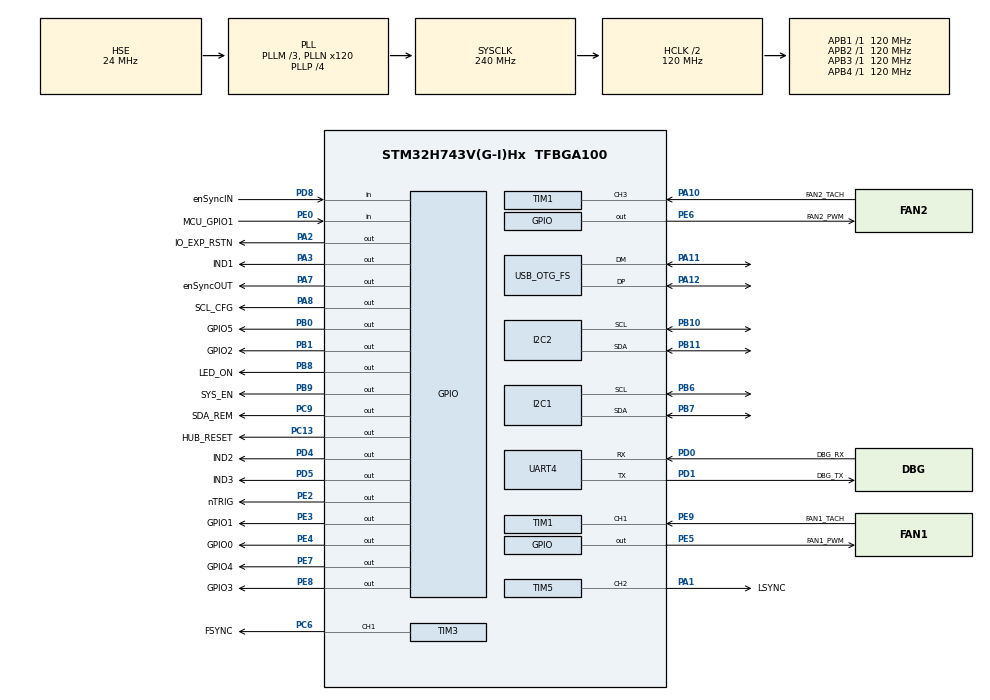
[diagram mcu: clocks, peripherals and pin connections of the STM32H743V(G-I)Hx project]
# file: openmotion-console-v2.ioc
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CORTEX_M7.default_mode_Activation=1
Dma.Request0=UART4_RX
Dma.Request1=UART4_TX
Dma.UART4_RX.0.Direction=DMA_PERIPH_TO_MEMORY
Dma.UART4_RX.0.EventEnable=DISABLE
Dma.UART4_RX.0.FIFOMode=DMA_FIFOMODE_DISABLE
Dma.UART4_RX.0.Instance=DMA1_Stream0
Dma.UART4_RX.0.MemDataAlignment=DMA_MDATAALIGN_BYTE
Dma.UART4_RX.0.MemInc=DMA_MINC_ENABLE
Dma.UART4_RX.0.Mode=DMA_NORMAL
Dma.UART4_RX.0.PeriphDataAlignment=DMA_PDATAALIGN_BYTE
Dma.UART4_RX.0.PeriphInc=DMA_PINC_DISABLE
Dma.UART4_RX.0.Polarity=HAL_DMAMUX_REQ_GEN_RISING
Dma.UART4_RX.0.Priority=DMA_PRIORITY_LOW
Dma.UART4_RX.0.RequestNumber=1
Dma.UART4_RX.0.SignalID=NONE
Dma.UART4_RX.0.SyncEnable=DISABLE
Dma.UART4_RX.0.SyncPolarity=HAL_DMAMUX_SYNC_NO_EVENT
Dma.UART4_RX.0.SyncRequestNumber=1
Dma.UART4_RX.0.SyncSignalID=NONE
Dma.UART4_TX.1.Direction=DMA_MEMORY_TO_PERIPH
Dma.UART4_TX.1.EventEnable=DISABLE
Dma.UART4_TX.1.FIFOMode=DMA_FIFOMODE_DISABLE
Dma.UART4_TX.1.Instance=DMA1_Stream1
Dma.UART4_TX.1.MemDataAlignment=DMA_MDATAALIGN_BYTE
Dma.UART4_TX.1.MemInc=DMA_MINC_ENABLE
Dma.UART4_TX.1.Mode=DMA_NORMAL
Dma.UART4_TX.1.PeriphDataAlignment=DMA_PDATAALIGN_BYTE
Dma.UART4_TX.1.PeriphInc=DMA_PINC_DISABLE
Dma.UART4_TX.1.Polarity=HAL_DMAMUX_REQ_GEN_RISING
Dma.UART4_TX.1.Priority=DMA_PRIORITY_LOW
Dma.UART4_TX.1.RequestNumber=1
Dma.UART4_TX.1.SignalID=NONE
Dma.UART4_TX.1.SyncEnable=DISABLE
Dma.UART4_TX.1.SyncPolarity=HAL_DMAMUX_SYNC_NO_EVENT
Dma.UART4_TX.1.SyncRequestNumber=1
Dma.UART4_TX.1.SyncSignalID=NONE
FREERTOS.Tasks01=defaultTask,24,256,StartDefaultTask,Default,NULL,Dynamic,NULL,NULL
FREERTOS.configUSE_NEWLIB_REENTRANT=1
I2C1.Timing=0x107075B0
I2C2.Timing=0x107075B0
Mcu.Family=STM32H7
Mcu.Name=STM32H743V(G-I)Hx
Mcu.Package=TFBGA100
NVIC.DMA1_Stream0_IRQn=true\:5\:0\:false\:false\:true\:true\:false\:true\:true
NVIC.DMA1_Stream1_IRQn=true\:5\:0\:false\:false\:true\:true\:false\:true\:true
NVIC.OTG_FS_IRQn=true\:5\:0\:false\:false\:true\:true\:false\:true\:true
NVIC.PriorityGroup=NVIC_PRIORITYGROUP_4
NVIC.TIM17_IRQn=true\:15\:0\:false\:false\:true\:false\:false\:true\:true
NVIC.TIM4_IRQn=true\:5\:0\:false\:false\:true\:true\:true\:true\:true
NVIC.TIM8_BRK_TIM12_IRQn=true\:5\:0\:false\:false\:true\:true\:true\:true\:true
NVIC.TimeBase=TIM17_IRQn
NVIC.TimeBaseIP=TIM17
NVIC.UART4_IRQn=true\:5\:0\:false\:false\:true\:true\:true\:true\:true
PA1.GPIO_Label=LSYNC
PA1.Signal=S_TIM5_CH2
PA10.GPIO_Label=FAN2_TACH
PA10.Signal=S_TIM1_CH3
PA11.Mode=Device_Only
PA11.Signal=USB_OTG_FS_DM
PA12.Mode=Device_Only
PA12.Signal=USB_OTG_FS_DP
PA13\ (JTMS/SWDIO).Mode=Serial_Wire
PA13\ (JTMS/SWDIO).Signal=DEBUG_JTMS-SWDIO
PA14\ (JTCK/SWCLK).Mode=Serial_Wire
PA14\ (JTCK/SWCLK).Signal=DEBUG_JTCK-SWCLK
PA2.GPIO_Label=IO_EXP_RSTN
PA2.PinState=GPIO_PIN_SET
PA2.Signal=GPIO_Output
PA3.GPIO_Label=IND1
PA3.Signal=GPIO_Output
PA7.GPIO_Label=enSyncOUT
PA7.Signal=GPIO_Output
PA8.GPIO_Label=SCL_CFG
PA8.Signal=GPIO_Output
PB0.GPIO_Label=GPIO5
PB0.Signal=GPIO_Output
PB1.GPIO_Label=GPIO2
PB1.Signal=GPIO_Output
PB10.Mode=I2C
PB10.Signal=I2C2_SCL
PB11.Mode=I2C
PB11.Signal=I2C2_SDA
PB6.Mode=I2C
PB6.Signal=I2C1_SCL
PB7.Mode=I2C
PB7.Signal=I2C1_SDA
PB8.GPIO_Label=LED_ON
PB8.Signal=GPIO_Output
PB9.GPIO_Label=SYS_EN
PB9.Signal=GPIO_Output
PC13.GPIO_Label=HUB_RESET
PC13.Signal=GPIO_Output
PC6.GPIO_Label=FSYNC
PC6.Signal=S_TIM3_CH1
PC9.GPIO_Label=SDA_REM
PC9.Signal=GPIO_Output
PD0.GPIO_Label=DBG_RX
PD0.Mode=Asynchronous
PD0.Signal=UART4_RX
PD1.GPIO_Label=DBG_TX
PD1.Mode=Asynchronous
PD1.Signal=UART4_TX
PD4.GPIO_Label=IND2
PD4.Signal=GPIO_Output
PD5.GPIO_Label=IND3
PD5.Signal=GPIO_Output
PD8.GPIO_Label=enSyncIN
PD8.Signal=GPIO_Input
PE0.GPIO_Label=MCU_GPIO1
PE0.Signal=GPIO_Input
PE2.GPIO_Label=nTRIG
PE2.Signal=GPIO_Output
PE3.GPIO_Label=GPIO1
PE3.Signal=GPIO_Output
PE4.GPIO_Label=GPIO0
PE4.Signal=GPIO_Output
PE5.GPIO_Label=FAN1_PWM
PE5.PinState=GPIO_PIN_SET
PE5.Signal=GPIO_Output
PE6.GPIO_Label=FAN2_PWM
PE6.PinState=GPIO_PIN_SET
PE6.Signal=GPIO_Output
PE7.GPIO_Label=GPIO4
PE7.Signal=GPIO_Output
PE8.GPIO_Label=GPIO3
PE8.Signal=GPIO_Output
PE9.GPIO_Label=FAN1_TACH
PE9.Signal=S_TIM1_CH1
PH0-OSC_IN\ (PH0).Mode=HSE-External-Oscillator
PH0-OSC_IN\ (PH0).Signal=RCC_OSC_IN
PH1-OSC_OUT\ (PH1).Mode=HSE-External-Oscillator
PH1-OSC_OUT\ (PH1).Signal=RCC_OSC_OUT
ProjectManager.HeapSize=0x200
ProjectManager.StackSize=0x400
ProjectManager.TargetToolchain=STM32CubeIDE
RCC.ADCFreq_Value=480000000
RCC.APB1Freq_Value=120000000
RCC.APB2Freq_Value=120000000
RCC.APB3Freq_Value=120000000
RCC.APB4Freq_Value=120000000
RCC.CortexFreq_Value=240000000
RCC.DIVM1=3
RCC.DIVM2=3
RCC.DIVM3=3
RCC.DIVN1=120
RCC.DIVN2=120
RCC.DIVN3=120
RCC.DIVP1=4
RCC.DIVQ1=16
RCC.DIVQ2=16
RCC.DIVQ3=16
RCC.DIVR1=16
RCC.DIVR3=16
RCC.HCLKFreq_Value=120000000
RCC.HPRE=RCC_HCLK_DIV2
RCC.HSE_VALUE=24000000
RCC.I2C123CLockSelection=RCC_I2C123CLKSOURCE_PLL3
RCC.PLLSourceVirtual=RCC_PLLSOURCE_HSE
RCC.SYSCLKFreq_VALUE=240000000
RCC.SYSCLKSource=RCC_SYSCLKSOURCE_PLLCLK
RCC.USART234578CLockSelection=RCC_USART234578CLKSOURCE_PLL2
RCC.USBCLockSelection=RCC_USBCLKSOURCE_HSI48
RCC.USBFreq_Value=48000000
SH.S_TIM1_CH1.0=TIM1_CH1,Input_Capture1_from_TI1
SH.S_TIM1_CH3.0=TIM1_CH3,Input_Capture3_from_TI3
SH.S_TIM3_CH1.0=TIM3_CH1,PWM Generation1 CH1
SH.S_TIM5_CH2.0=TIM5_CH2,PWM Generation2 CH2
TIM1.Channel-Input_Capture1_from_TI1=TIM_CHANNEL_1
TIM1.Channel-Input_Capture3_from_TI3=TIM_CHANNEL_3
TIM12.Period=25000-1
TIM12.Prescaler=120-1
TIM3.Channel-PWM\ Generation1\ CH1=TIM_CHANNEL_1
TIM3.Period=25000-1
TIM3.Prescaler=120-1
TIM3.Pulse-PWM\ Generation1\ CH1=1000
TIM4.Channel-PWM\ Generation1\ No\ Output=TIM_CHANNEL_1
TIM5.Channel-PWM\ Generation2\ CH2=TIM_CHANNEL_2
TIM5.Period=150-1
TIM5.Prescaler=120-1
TIM5.Pulse-PWM\ Generation2\ CH2=50
USB_DEVICE.CLASS_NAME_FS=CDC
USB_DEVICE.PID_CDC_FS=0xA53E
USB_DEVICE.VID-CDC_FS=0x483
USB_DEVICE.VirtualMode-CDC_FS=Cdc
USB_DEVICE.VirtualModeFS=Cdc_FS
USB_OTG_FS.VirtualMode=Device_Only
VP_CRC_VS_CRC.Mode=CRC_Activate
VP_FREERTOS_VS_CMSIS_V2.Mode=CMSIS_V2
VP_MEMORYMAP_VS_MEMORYMAP.Mode=CurAppReg
VP_RNG_VS_RNG.Mode=RNG_Activate
VP_SYS_VS_tim17.Mode=TIM17
VP_TIM12_VS_ClockSourceINT.Mode=Internal
VP_TIM15_VS_ClockSourceINT.Mode=Internal
VP_TIM1_VS_ClockSourceINT.Mode=Internal
VP_TIM3_VS_ClockSourceINT.Mode=Internal
VP_TIM4_VS_ClockSourceITR.Mode=TriggerSource_ITR1
VP_TIM4_VS_ControllerModeTrigger.Mode=Trigger Mode
VP_TIM4_VS_OPM.Mode=OPM_bit
VP_TIM4_VS_no_output1.Mode=PWM Generation1 No Output
VP_TIM5_VS_ClockSourceINT.Mode=Internal
VP_USB_DEVICE_VS_USB_DEVICE_CDC_FS.Mode=CDC_FS
board=custom

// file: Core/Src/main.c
/* USER CODE BEGIN Header */
/**
  ******************************************************************************
  * @file           : main.c
  * @brief          : Main program body
  ******************************************************************************
  * @attention
  *
  * Copyright (c) 2025 STMicroelectronics.
  * All rights reserved.
  *
  * This software is licensed under terms that can be found in the LICENSE file
  * in the root directory of this software component.
  * If no LICENSE file comes with this software, it is provided AS-IS.
  *
  ******************************************************************************
  */
/* USER CODE END Header */
#include "main.h"
#include "cmsis_os.h"
#include "usb_device.h"

/* USER CODE BEGIN Includes */
#include "logging.h"
#include "usbd_cdc_if.h"
#include "uart_comms.h"
#include "trigger.h"
#include "fan_driver.h"
#include "led_driver.h"
#include "utils.h"
#include <stdio.h>
#include <string.h>
#include <stdbool.h>

/* USER CODE END Includes */

CRC_HandleTypeDef hcrc;

I2C_HandleTypeDef hi2c1;
I2C_HandleTypeDef hi2c2;

RNG_HandleTypeDef hrng;

TIM_HandleTypeDef htim1;
TIM_HandleTypeDef htim3;
TIM_HandleTypeDef htim4;
TIM_HandleTypeDef htim5;
TIM_HandleTypeDef htim12;
TIM_HandleTypeDef htim15;

UART_HandleTypeDef huart4;
DMA_HandleTypeDef hdma_uart4_rx;
DMA_HandleTypeDef hdma_uart4_tx;

/* Definitions for defaultTask */
osThreadId_t defaultTaskHandle;
const osThreadAttr_t defaultTask_attributes = {
  .name = "defaultTask",
  .stack_size = 256 * 4,
  .priority = (osPriority_t) osPriorityNormal,
};
/* USER CODE BEGIN PV */
uint8_t FIRMWARE_VERSION_DATA[3] = {1, 2, 0};

uint8_t rxBuffer[COMMAND_MAX_SIZE];
uint8_t txBuffer[COMMAND_MAX_SIZE];

/* USER CODE END PV */

void SystemClock_Config(void);
void PeriphCommonClock_Config(void);
static void MPU_Config(void);
static void MX_GPIO_Init(void);
static void MX_DMA_Init(void);
static void MX_CRC_Init(void);
static void MX_I2C1_Init(void);
static void MX_I2C2_Init(void);
static void MX_RNG_Init(void);
static void MX_UART4_Init(void);
static void MX_TIM1_Init(void);
static void MX_TIM3_Init(void);
static void MX_TIM5_Init(void);
static void MX_TIM4_Init(void);
static void MX_TIM12_Init(void);
static void MX_TIM15_Init(void);
void StartDefaultTask(void *argument);

int main(void)
{

  /* MPU Configuration--------------------------------------------------------*/
  MPU_Config();

  /* MCU Configuration--------------------------------------------------------*/

  /* Reset of all peripherals, Initializes the Flash interface and the Systick. */
  HAL_Init();

  /* Configure the system clock */
  SystemClock_Config();

  /* Configure the peripherals common clocks */
  PeriphCommonClock_Config();

  /* Initialize all configured peripherals */
  MX_GPIO_Init();
  MX_DMA_Init();
  MX_CRC_Init();
  MX_I2C1_Init();
  MX_I2C2_Init();
  MX_RNG_Init();
  MX_UART4_Init();
  MX_TIM1_Init();
  MX_TIM3_Init();
  MX_TIM5_Init();
  MX_TIM4_Init();
  MX_TIM12_Init();
  MX_TIM15_Init();
  /* USER CODE BEGIN 2 */

  init_dma_logging();
  // HAL_GPIO_DeInit(SCL_CFG_GPIO_Port, SCL_CFG_Pin);
  // HAL_GPIO_DeInit(SDA_REM_GPIO_Port, SDA_REM_Pin);
  HAL_GPIO_WritePin(SCL_CFG_GPIO_Port, SCL_CFG_Pin, GPIO_PIN_RESET);
  HAL_GPIO_WritePin(SDA_REM_GPIO_Port, SDA_REM_Pin, GPIO_PIN_RESET);

  HAL_GPIO_WritePin(IO_EXP_RSTN_GPIO_Port, IO_EXP_RSTN_Pin, GPIO_PIN_RESET);
  HAL_GPIO_WritePin(HUB_RESET_GPIO_Port, HUB_RESET_Pin, GPIO_PIN_RESET);
  HAL_GPIO_WritePin(SYS_EN_GPIO_Port, SYS_EN_Pin, GPIO_PIN_RESET);
  HAL_GPIO_WritePin(LED_ON_GPIO_Port, LED_ON_Pin, GPIO_PIN_SET);

  printf("\033c");
  HAL_Delay(250);
  printf("Openwater open-MOTION Console FW v%d.%d.%d\r\n\r\n",FIRMWARE_VERSION_DATA[0], FIRMWARE_VERSION_DATA[1], FIRMWARE_VERSION_DATA[2]);
  printf("CPU Clock Frequency: %lu MHz\r\n", HAL_RCC_GetSysClockFreq() / 1000000);
  printf("Initializing, please wait ...\r\n");

  HAL_GPIO_WritePin(IO_EXP_RSTN_GPIO_Port, IO_EXP_RSTN_Pin, GPIO_PIN_SET);
  HAL_GPIO_WritePin(SYS_EN_GPIO_Port, SYS_EN_Pin, GPIO_PIN_SET);

  LED_Init();
  HAL_GPIO_WritePin(LED_ON_GPIO_Port, LED_ON_Pin, GPIO_PIN_RESET);
  HAL_GPIO_WritePin(HUB_RESET_GPIO_Port, HUB_RESET_Pin, GPIO_PIN_SET);
  HAL_Delay(250);
  FAN_Init();

  // configure PWM for trigger pulse
  const Trigger_Config_t myTriggerConfig = { 40, 1000, 100, 100 };
  Trigger_SetConfig(&myTriggerConfig);

  /* USER CODE END 2 */

  /* Init scheduler */
  osKernelInitialize();

  /* Create the thread(s) */
  /* creation of defaultTask */
  defaultTaskHandle = osThreadNew(StartDefaultTask, NULL, &defaultTask_attributes);

  /* USER CODE BEGIN RTOS_THREADS */
  comms_init();
  /* USER CODE END RTOS_THREADS */

  /* Start scheduler */
  osKernelStart();

  /* We should never get here as control is now taken by the scheduler */

  /* Infinite loop */
  while (1)
  {

  }
}

void SystemClock_Config(void)
{
  RCC_OscInitTypeDef RCC_OscInitStruct = {0};
  RCC_ClkInitTypeDef RCC_ClkInitStruct = {0};

  /** Supply configuration update enable
  */
  HAL_PWREx_ConfigSupply(PWR_LDO_SUPPLY);

  /** Configure the main internal regulator output voltage
  */
  __HAL_PWR_VOLTAGESCALING_CONFIG(PWR_REGULATOR_VOLTAGE_SCALE2);

  while(!__HAL_PWR_GET_FLAG(PWR_FLAG_VOSRDY)) {}

  /** Initializes the RCC Oscillators according to the specified parameters
  * in the RCC_OscInitTypeDef structure.
  */
  RCC_OscInitStruct.OscillatorType = RCC_OSCILLATORTYPE_HSI48|RCC_OSCILLATORTYPE_HSE;
  RCC_OscInitStruct.HSEState = RCC_HSE_ON;
  RCC_OscInitStruct.HSI48State = RCC_HSI48_ON;
  RCC_OscInitStruct.PLL.PLLState = RCC_PLL_ON;
  RCC_OscInitStruct.PLL.PLLSource = RCC_PLLSOURCE_HSE;
  RCC_OscInitStruct.PLL.PLLM = 3;
  RCC_OscInitStruct.PLL.PLLN = 120;
  RCC_OscInitStruct.PLL.PLLP = 4;
  RCC_OscInitStruct.PLL.PLLQ = 16;
  RCC_OscInitStruct.PLL.PLLR = 16;
  RCC_OscInitStruct.PLL.PLLRGE = RCC_PLL1VCIRANGE_3;
  RCC_OscInitStruct.PLL.PLLVCOSEL = RCC_PLL1VCOWIDE;
  RCC_OscInitStruct.PLL.PLLFRACN = 0;
  if (HAL_RCC_OscConfig(&RCC_OscInitStruct) != HAL_OK)
  {
    Error_Handler();
  }

  /** Initializes the CPU, AHB and APB buses clocks
  */
  RCC_ClkInitStruct.ClockType = RCC_CLOCKTYPE_HCLK|RCC_CLOCKTYPE_SYSCLK
                              |RCC_CLOCKTYPE_PCLK1|RCC_CLOCKTYPE_PCLK2
                              |RCC_CLOCKTYPE_D3PCLK1|RCC_CLOCKTYPE_D1PCLK1;
  RCC_ClkInitStruct.SYSCLKSource = RCC_SYSCLKSOURCE_PLLCLK;
  RCC_ClkInitStruct.SYSCLKDivider = RCC_SYSCLK_DIV1;
  RCC_ClkInitStruct.AHBCLKDivider = RCC_HCLK_DIV2;
  RCC_ClkInitStruct.APB3CLKDivider = RCC_APB3_DIV1;
  RCC_ClkInitStruct.APB1CLKDivider = RCC_APB1_DIV1;
  RCC_ClkInitStruct.APB2CLKDivider = RCC_APB2_DIV1;
  RCC_ClkInitStruct.APB4CLKDivider = RCC_APB4_DIV1;

  if (HAL_RCC_ClockConfig(&RCC_ClkInitStruct, FLASH_LATENCY_2) != HAL_OK)
  {
    Error_Handler();
  }
}

void PeriphCommonClock_Config(void)
{
  RCC_PeriphCLKInitTypeDef PeriphClkInitStruct = {0};

  /** Initializes the peripherals clock
  */
  PeriphClkInitStruct.PeriphClockSelection = RCC_PERIPHCLK_I2C2|RCC_PERIPHCLK_I2C1;
  PeriphClkInitStruct.PLL3.PLL3M = 3;
  PeriphClkInitStruct.PLL3.PLL3N = 120;
  PeriphClkInitStruct.PLL3.PLL3P = 2;
  PeriphClkInitStruct.PLL3.PLL3Q = 16;
  PeriphClkInitStruct.PLL3.PLL3R = 16;
  PeriphClkInitStruct.PLL3.PLL3RGE = RCC_PLL3VCIRANGE_3;
  PeriphClkInitStruct.PLL3.PLL3VCOSEL = RCC_PLL3VCOWIDE;
  PeriphClkInitStruct.PLL3.PLL3FRACN = 0;
  PeriphClkInitStruct.I2c123ClockSelection = RCC_I2C123CLKSOURCE_PLL3;
  if (HAL_RCCEx_PeriphCLKConfig(&PeriphClkInitStruct) != HAL_OK)
  {
    Error_Handler();
  }
}

static void MX_CRC_Init(void)
{

  hcrc.Instance = CRC;
  hcrc.Init.DefaultPolynomialUse = DEFAULT_POLYNOMIAL_ENABLE;
  hcrc.Init.DefaultInitValueUse = DEFAULT_INIT_VALUE_ENABLE;
  hcrc.Init.InputDataInversionMode = CRC_INPUTDATA_INVERSION_NONE;
  hcrc.Init.OutputDataInversionMode = CRC_OUTPUTDATA_INVERSION_DISABLE;
  hcrc.InputDataFormat = CRC_INPUTDATA_FORMAT_BYTES;
  if (HAL_CRC_Init(&hcrc) != HAL_OK)
  {
    Error_Handler();
  }

}

static void MX_I2C1_Init(void)
{

  hi2c1.Instance = I2C1;
  hi2c1.Init.Timing = 0x107075B0;
  hi2c1.Init.OwnAddress1 = 0;
  hi2c1.Init.AddressingMode = I2C_ADDRESSINGMODE_7BIT;
  hi2c1.Init.DualAddressMode = I2C_DUALADDRESS_DISABLE;
  hi2c1.Init.OwnAddress2 = 0;
  hi2c1.Init.OwnAddress2Masks = I2C_OA2_NOMASK;
  hi2c1.Init.GeneralCallMode = I2C_GENERALCALL_DISABLE;
  hi2c1.Init.NoStretchMode = I2C_NOSTRETCH_DISABLE;
  if (HAL_I2C_Init(&hi2c1) != HAL_OK)
  {
    Error_Handler();
  }

  /** Configure Analogue filter
  */
  if (HAL_I2CEx_ConfigAnalogFilter(&hi2c1, I2C_ANALOGFILTER_ENABLE) != HAL_OK)
  {
    Error_Handler();
  }

  /** Configure Digital filter
  */
  if (HAL_I2CEx_ConfigDigitalFilter(&hi2c1, 0) != HAL_OK)
  {
    Error_Handler();
  }

}

static void MX_I2C2_Init(void)
{

  hi2c2.Instance = I2C2;
  hi2c2.Init.Timing = 0x107075B0;
  hi2c2.Init.OwnAddress1 = 0;
  hi2c2.Init.AddressingMode = I2C_ADDRESSINGMODE_7BIT;
  hi2c2.Init.DualAddressMode = I2C_DUALADDRESS_DISABLE;
  hi2c2.Init.OwnAddress2 = 0;
  hi2c2.Init.OwnAddress2Masks = I2C_OA2_NOMASK;
  hi2c2.Init.GeneralCallMode = I2C_GENERALCALL_DISABLE;
  hi2c2.Init.NoStretchMode = I2C_NOSTRETCH_DISABLE;
  if (HAL_I2C_Init(&hi2c2) != HAL_OK)
  {
    Error_Handler();
  }

  /** Configure Analogue filter
  */
  if (HAL_I2CEx_ConfigAnalogFilter(&hi2c2, I2C_ANALOGFILTER_ENABLE) != HAL_OK)
  {
    Error_Handler();
  }

  /** Configure Digital filter
  */
  if (HAL_I2CEx_ConfigDigitalFilter(&hi2c2, 0) != HAL_OK)
  {
    Error_Handler();
  }

}

static void MX_RNG_Init(void)
{

  hrng.Instance = RNG;
  hrng.Init.ClockErrorDetection = RNG_CED_ENABLE;
  if (HAL_RNG_Init(&hrng) != HAL_OK)
  {
    Error_Handler();
  }

}

static void MX_TIM1_Init(void)
{

  TIM_ClockConfigTypeDef sClockSourceConfig = {0};
  TIM_MasterConfigTypeDef sMasterConfig = {0};
  TIM_IC_InitTypeDef sConfigIC = {0};

  htim1.Instance = TIM1;
  htim1.Init.Prescaler = 0;
  htim1.Init.CounterMode = TIM_COUNTERMODE_UP;
  htim1.Init.Period = 65535;
  htim1.Init.ClockDivision = TIM_CLOCKDIVISION_DIV1;
  htim1.Init.RepetitionCounter = 0;
  htim1.Init.AutoReloadPreload = TIM_AUTORELOAD_PRELOAD_DISABLE;
  if (HAL_TIM_Base_Init(&htim1) != HAL_OK)
  {
    Error_Handler();
  }
  sClockSourceConfig.ClockSource = TIM_CLOCKSOURCE_INTERNAL;
  if (HAL_TIM_ConfigClockSource(&htim1, &sClockSourceConfig) != HAL_OK)
  {
    Error_Handler();
  }
  if (HAL_TIM_IC_Init(&htim1) != HAL_OK)
  {
    Error_Handler();
  }
  sMasterConfig.MasterOutputTrigger = TIM_TRGO_RESET;
  sMasterConfig.MasterOutputTrigger2 = TIM_TRGO2_RESET;
  sMasterConfig.MasterSlaveMode = TIM_MASTERSLAVEMODE_DISABLE;
  if (HAL_TIMEx_MasterConfigSynchronization(&htim1, &sMasterConfig) != HAL_OK)
  {
    Error_Handler();
  }
  sConfigIC.ICPolarity = TIM_INPUTCHANNELPOLARITY_RISING;
  sConfigIC.ICSelection = TIM_ICSELECTION_DIRECTTI;
  sConfigIC.ICPrescaler = TIM_ICPSC_DIV1;
  sConfigIC.ICFilter = 0;
  if (HAL_TIM_IC_ConfigChannel(&htim1, &sConfigIC, TIM_CHANNEL_1) != HAL_OK)
  {
    Error_Handler();
  }
  if (HAL_TIM_IC_ConfigChannel(&htim1, &sConfigIC, TIM_CHANNEL_3) != HAL_OK)
  {
    Error_Handler();
  }

}

static void MX_TIM3_Init(void)
{

  TIM_ClockConfigTypeDef sClockSourceConfig = {0};
  TIM_MasterConfigTypeDef sMasterConfig = {0};
  TIM_OC_InitTypeDef sConfigOC = {0};

  htim3.Instance = TIM3;
  htim3.Init.Prescaler = 120-1;
  htim3.Init.CounterMode = TIM_COUNTERMODE_UP;
  htim3.Init.Period = 25000-1;
  htim3.Init.ClockDivision = TIM_CLOCKDIVISION_DIV1;
  htim3.Init.AutoReloadPreload = TIM_AUTORELOAD_PRELOAD_DISABLE;
  if (HAL_TIM_Base_Init(&htim3) != HAL_OK)
  {
    Error_Handler();
  }
  sClockSourceConfig.ClockSource = TIM_CLOCKSOURCE_INTERNAL;
  if (HAL_TIM_ConfigClockSource(&htim3, &sClockSourceConfig) != HAL_OK)
  {
    Error_Handler();
  }
  if (HAL_TIM_PWM_Init(&htim3) != HAL_OK)
  {
    Error_Handler();
  }
  sMasterConfig.MasterOutputTrigger = TIM_TRGO_RESET;
  sMasterConfig.MasterSlaveMode = TIM_MASTERSLAVEMODE_DISABLE;
  if (HAL_TIMEx_MasterConfigSynchronization(&htim3, &sMasterConfig) != HAL_OK)
  {
    Error_Handler();
  }
  sConfigOC.OCMode = TIM_OCMODE_PWM1;
  sConfigOC.Pulse = 1000;
  sConfigOC.OCPolarity = TIM_OCPOLARITY_HIGH;
  sConfigOC.OCFastMode = TIM_OCFAST_DISABLE;
  if (HAL_TIM_PWM_ConfigChannel(&htim3, &sConfigOC, TIM_CHANNEL_1) != HAL_OK)
  {
    Error_Handler();
  }
  HAL_TIM_MspPostInit(&htim3);

}

static void MX_TIM4_Init(void)
{

  TIM_SlaveConfigTypeDef sSlaveConfig = {0};
  TIM_MasterConfigTypeDef sMasterConfig = {0};
  TIM_OC_InitTypeDef sConfigOC = {0};

  htim4.Instance = TIM4;
  htim4.Init.Prescaler = 0;
  htim4.Init.CounterMode = TIM_COUNTERMODE_UP;
  htim4.Init.Period = 65535;
  htim4.Init.ClockDivision = TIM_CLOCKDIVISION_DIV1;
  htim4.Init.AutoReloadPreload = TIM_AUTORELOAD_PRELOAD_DISABLE;
  if (HAL_TIM_Base_Init(&htim4) != HAL_OK)
  {
    Error_Handler();
  }
  if (HAL_TIM_PWM_Init(&htim4) != HAL_OK)
  {
    Error_Handler();
  }
  if (HAL_TIM_OnePulse_Init(&htim4, TIM_OPMODE_SINGLE) != HAL_OK)
  {
    Error_Handler();
  }
  sSlaveConfig.SlaveMode = TIM_SLAVEMODE_TRIGGER;
  sSlaveConfig.InputTrigger = TIM_TS_ITR1;
  if (HAL_TIM_SlaveConfigSynchro(&htim4, &sSlaveConfig) != HAL_OK)
  {
    Error_Handler();
  }
  sMasterConfig.MasterOutputTrigger = TIM_TRGO_RESET;
  sMasterConfig.MasterSlaveMode = TIM_MASTERSLAVEMODE_DISABLE;
  if (HAL_TIMEx_MasterConfigSynchronization(&htim4, &sMasterConfig) != HAL_OK)
  {
    Error_Handler();
  }
  sConfigOC.OCMode = TIM_OCMODE_PWM1;
  sConfigOC.Pulse = 0;
  sConfigOC.OCPolarity = TIM_OCPOLARITY_HIGH;
  sConfigOC.OCFastMode = TIM_OCFAST_DISABLE;
  if (HAL_TIM_PWM_ConfigChannel(&htim4, &sConfigOC, TIM_CHANNEL_1) != HAL_OK)
  {
    Error_Handler();
  }

}

static void MX_TIM5_Init(void)
{

  TIM_ClockConfigTypeDef sClockSourceConfig = {0};
  TIM_MasterConfigTypeDef sMasterConfig = {0};
  TIM_OC_InitTypeDef sConfigOC = {0};

  htim5.Instance = TIM5;
  htim5.Init.Prescaler = 120-1;
  htim5.Init.CounterMode = TIM_COUNTERMODE_UP;
  htim5.Init.Period = 150-1;
  htim5.Init.ClockDivision = TIM_CLOCKDIVISION_DIV1;
  htim5.Init.AutoReloadPreload = TIM_AUTORELOAD_PRELOAD_DISABLE;
  if (HAL_TIM_Base_Init(&htim5) != HAL_OK)
  {
    Error_Handler();
  }
  sClockSourceConfig.ClockSource = TIM_CLOCKSOURCE_INTERNAL;
  if (HAL_TIM_ConfigClockSource(&htim5, &sClockSourceConfig) != HAL_OK)
  {
    Error_Handler();
  }
  if (HAL_TIM_PWM_Init(&htim5) != HAL_OK)
  {
    Error_Handler();
  }
  sMasterConfig.MasterOutputTrigger = TIM_TRGO_RESET;
  sMasterConfig.MasterSlaveMode = TIM_MASTERSLAVEMODE_DISABLE;
  if (HAL_TIMEx_MasterConfigSynchronization(&htim5, &sMasterConfig) != HAL_OK)
  {
    Error_Handler();
  }
  sConfigOC.OCMode = TIM_OCMODE_PWM1;
  sConfigOC.Pulse = 50;
  sConfigOC.OCPolarity = TIM_OCPOLARITY_HIGH;
  sConfigOC.OCFastMode = TIM_OCFAST_DISABLE;
  if (HAL_TIM_PWM_ConfigChannel(&htim5, &sConfigOC, TIM_CHANNEL_2) != HAL_OK)
  {
    Error_Handler();
  }
  HAL_TIM_MspPostInit(&htim5);

}

static void MX_TIM12_Init(void)
{

  TIM_ClockConfigTypeDef sClockSourceConfig = {0};
  TIM_MasterConfigTypeDef sMasterConfig = {0};

  htim12.Instance = TIM12;
  htim12.Init.Prescaler = 120-1;
  htim12.Init.CounterMode = TIM_COUNTERMODE_UP;
  htim12.Init.Period = 25000-1;
  htim12.Init.ClockDivision = TIM_CLOCKDIVISION_DIV1;
  htim12.Init.AutoReloadPreload = TIM_AUTORELOAD_PRELOAD_DISABLE;
  if (HAL_TIM_Base_Init(&htim12) != HAL_OK)
  {
    Error_Handler();
  }
  sClockSourceConfig.ClockSource = TIM_CLOCKSOURCE_INTERNAL;
  if (HAL_TIM_ConfigClockSource(&htim12, &sClockSourceConfig) != HAL_OK)
  {
    Error_Handler();
  }
  sMasterConfig.MasterOutputTrigger = TIM_TRGO_RESET;
  sMasterConfig.MasterSlaveMode = TIM_MASTERSLAVEMODE_DISABLE;
  if (HAL_TIMEx_MasterConfigSynchronization(&htim12, &sMasterConfig) != HAL_OK)
  {
    Error_Handler();
  }

}

static void MX_TIM15_Init(void)
{

  TIM_ClockConfigTypeDef sClockSourceConfig = {0};
  TIM_MasterConfigTypeDef sMasterConfig = {0};

  htim15.Instance = TIM15;
  htim15.Init.Prescaler = 0;
  htim15.Init.CounterMode = TIM_COUNTERMODE_UP;
  htim15.Init.Period = 65535;
  htim15.Init.ClockDivision = TIM_CLOCKDIVISION_DIV1;
  htim15.Init.RepetitionCounter = 0;
  htim15.Init.AutoReloadPreload = TIM_AUTORELOAD_PRELOAD_DISABLE;
  if (HAL_TIM_Base_Init(&htim15) != HAL_OK)
  {
    Error_Handler();
  }
  sClockSourceConfig.ClockSource = TIM_CLOCKSOURCE_INTERNAL;
  if (HAL_TIM_ConfigClockSource(&htim15, &sClockSourceConfig) != HAL_OK)
  {
    Error_Handler();
  }
  sMasterConfig.MasterOutputTrigger = TIM_TRGO_RESET;
  sMasterConfig.MasterSlaveMode = TIM_MASTERSLAVEMODE_DISABLE;
  if (HAL_TIMEx_MasterConfigSynchronization(&htim15, &sMasterConfig) != HAL_OK)
  {
    Error_Handler();
  }

}

static void MX_UART4_Init(void)
{

  huart4.Instance = UART4;
  huart4.Init.BaudRate = 115200;
  huart4.Init.WordLength = UART_WORDLENGTH_8B;
  huart4.Init.StopBits = UART_STOPBITS_1;
  huart4.Init.Parity = UART_PARITY_NONE;
  huart4.Init.Mode = UART_MODE_TX_RX;
  huart4.Init.HwFlowCtl = UART_HWCONTROL_NONE;
  huart4.Init.OverSampling = UART_OVERSAMPLING_16;
  huart4.Init.OneBitSampling = UART_ONE_BIT_SAMPLE_DISABLE;
  huart4.Init.ClockPrescaler = UART_PRESCALER_DIV1;
  huart4.AdvancedInit.AdvFeatureInit = UART_ADVFEATURE_NO_INIT;
  if (HAL_UART_Init(&huart4) != HAL_OK)
  {
    Error_Handler();
  }
  if (HAL_UARTEx_SetTxFifoThreshold(&huart4, UART_TXFIFO_THRESHOLD_1_8) != HAL_OK)
  {
    Error_Handler();
  }
  if (HAL_UARTEx_SetRxFifoThreshold(&huart4, UART_RXFIFO_THRESHOLD_1_8) != HAL_OK)
  {
    Error_Handler();
  }
  if (HAL_UARTEx_DisableFifoMode(&huart4) != HAL_OK)
  {
    Error_Handler();
  }

}

static void MX_DMA_Init(void)
{

  /* DMA controller clock enable */
  __HAL_RCC_DMA1_CLK_ENABLE();

  /* DMA interrupt init */
  /* DMA1_Stream0_IRQn interrupt configuration */
  HAL_NVIC_SetPriority(DMA1_Stream0_IRQn, 5, 0);
  HAL_NVIC_EnableIRQ(DMA1_Stream0_IRQn);
  /* DMA1_Stream1_IRQn interrupt configuration */
  HAL_NVIC_SetPriority(DMA1_Stream1_IRQn, 5, 0);
  HAL_NVIC_EnableIRQ(DMA1_Stream1_IRQn);

}

static void MX_GPIO_Init(void)
{
  GPIO_InitTypeDef GPIO_InitStruct = {0};

  /* GPIO Ports Clock Enable */
  __HAL_RCC_GPIOC_CLK_ENABLE();
  __HAL_RCC_GPIOE_CLK_ENABLE();
  __HAL_RCC_GPIOB_CLK_ENABLE();
  __HAL_RCC_GPIOA_CLK_ENABLE();
  __HAL_RCC_GPIOD_CLK_ENABLE();
  __HAL_RCC_GPIOH_CLK_ENABLE();

  /*Configure GPIO pin Output Level */
  HAL_GPIO_WritePin(GPIOC, HUB_RESET_Pin|SDA_REM_Pin, GPIO_PIN_RESET);

  /*Configure GPIO pin Output Level */
  HAL_GPIO_WritePin(GPIOE, nTRIG_Pin|GPIO1_Pin|GPIO0_Pin|GPIO4_Pin
                          |GPIO3_Pin, GPIO_PIN_RESET);

  /*Configure GPIO pin Output Level */
  HAL_GPIO_WritePin(GPIOB, SYS_EN_Pin|LED_ON_Pin|GPIO5_Pin|GPIO2_Pin, GPIO_PIN_RESET);

  /*Configure GPIO pin Output Level */
  HAL_GPIO_WritePin(GPIOD, IND3_Pin|IND2_Pin, GPIO_PIN_RESET);

  /*Configure GPIO pin Output Level */
  HAL_GPIO_WritePin(GPIOE, FAN1_PWM_Pin|FAN2_PWM_Pin, GPIO_PIN_SET);

  /*Configure GPIO pin Output Level */
  HAL_GPIO_WritePin(GPIOA, SCL_CFG_Pin|IND1_Pin|enSyncOUT_Pin, GPIO_PIN_RESET);

  /*Configure GPIO pin Output Level */
  HAL_GPIO_WritePin(IO_EXP_RSTN_GPIO_Port, IO_EXP_RSTN_Pin, GPIO_PIN_SET);

  /*Configure GPIO pins : HUB_RESET_Pin SDA_REM_Pin */
  GPIO_InitStruct.Pin = HUB_RESET_Pin|SDA_REM_Pin;
  GPIO_InitStruct.Mode = GPIO_MODE_OUTPUT_PP;
  GPIO_InitStruct.Pull = GPIO_NOPULL;
  GPIO_InitStruct.Speed = GPIO_SPEED_FREQ_LOW;
  HAL_GPIO_Init(GPIOC, &GPIO_InitStruct);

  /*Configure GPIO pins : nTRIG_Pin GPIO1_Pin GPIO0_Pin FAN1_PWM_Pin
                           FAN2_PWM_Pin GPIO4_Pin GPIO3_Pin */
  GPIO_InitStruct.Pin = nTRIG_Pin|GPIO1_Pin|GPIO0_Pin|FAN1_PWM_Pin
                          |FAN2_PWM_Pin|GPIO4_Pin|GPIO3_Pin;
  GPIO_InitStruct.Mode = GPIO_MODE_OUTPUT_PP;
  GPIO_InitStruct.Pull = GPIO_NOPULL;
  GPIO_InitStruct.Speed = GPIO_SPEED_FREQ_LOW;
  HAL_GPIO_Init(GPIOE, &GPIO_InitStruct);

  /*Configure GPIO pins : SYS_EN_Pin LED_ON_Pin GPIO5_Pin GPIO2_Pin */
  GPIO_InitStruct.Pin = SYS_EN_Pin|LED_ON_Pin|GPIO5_Pin|GPIO2_Pin;
  GPIO_InitStruct.Mode = GPIO_MODE_OUTPUT_PP;
  GPIO_InitStruct.Pull = GPIO_NOPULL;
  GPIO_InitStruct.Speed = GPIO_SPEED_FREQ_LOW;
  HAL_GPIO_Init(GPIOB, &GPIO_InitStruct);

  /*Configure GPIO pins : IND3_Pin IND2_Pin */
  GPIO_InitStruct.Pin = IND3_Pin|IND2_Pin;
  GPIO_InitStruct.Mode = GPIO_MODE_OUTPUT_PP;
  GPIO_InitStruct.Pull = GPIO_NOPULL;
  GPIO_InitStruct.Speed = GPIO_SPEED_FREQ_LOW;
  HAL_GPIO_Init(GPIOD, &GPIO_InitStruct);

  /*Configure GPIO pin : MCU_GPIO1_Pin */
  GPIO_InitStruct.Pin = MCU_GPIO1_Pin;
  GPIO_InitStruct.Mode = GPIO_MODE_INPUT;
  GPIO_InitStruct.Pull = GPIO_NOPULL;
  HAL_GPIO_Init(MCU_GPIO1_GPIO_Port, &GPIO_InitStruct);

  /*Configure GPIO pins : SCL_CFG_Pin IO_EXP_RSTN_Pin IND1_Pin enSyncOUT_Pin */
  GPIO_InitStruct.Pin = SCL_CFG_Pin|IO_EXP_RSTN_Pin|IND1_Pin|enSyncOUT_Pin;
  GPIO_InitStruct.Mode = GPIO_MODE_OUTPUT_PP;
  GPIO_InitStruct.Pull = GPIO_NOPULL;
  GPIO_InitStruct.Speed = GPIO_SPEED_FREQ_LOW;
  HAL_GPIO_Init(GPIOA, &GPIO_InitStruct);

  /*Configure GPIO pin : enSyncIN_Pin */
  GPIO_InitStruct.Pin = enSyncIN_Pin;
  GPIO_InitStruct.Mode = GPIO_MODE_INPUT;
  GPIO_InitStruct.Pull = GPIO_NOPULL;
  HAL_GPIO_Init(enSyncIN_GPIO_Port, &GPIO_InitStruct);

}

/* USER CODE BEGIN 4 */

void HAL_UARTEx_RxEventCallback(UART_HandleTypeDef *huart, uint16_t Size)
{
}

void HAL_UART_RxHalfCpltCallback(UART_HandleTypeDef *huart)
{
}

void HAL_UART_RxCpltCallback(UART_HandleTypeDef *huart)
{

}

void HAL_UART_TxCpltCallback(UART_HandleTypeDef *huart)
{
	if(huart->Instance == UART4)
	{
		logging_UART_TxCpltCallback(huart);
	}
}
/* USER CODE END 4 */

void StartDefaultTask(void *argument)
{
  /* init code for USB_DEVICE */
  MX_USB_DEVICE_Init();
  /* USER CODE BEGIN 5 */
  printf("USB started\r\n");
  /* Infinite loop */
  for(;;)
  {
	LED_Toggle(IND1_GPIO_Port, IND1_Pin);
	osDelay(250);
  }
  /* USER CODE END 5 */
}

 /* MPU Configuration */

void MPU_Config(void)
{
  MPU_Region_InitTypeDef MPU_InitStruct = {0};

  /* Disables the MPU */
  HAL_MPU_Disable();

  /** Initializes and configures the Region and the memory to be protected
  */
  MPU_InitStruct.Enable = MPU_REGION_ENABLE;
  MPU_InitStruct.Number = MPU_REGION_NUMBER0;
  MPU_InitStruct.BaseAddress = 0x0;
  MPU_InitStruct.Size = MPU_REGION_SIZE_4GB;
  MPU_InitStruct.SubRegionDisable = 0x87;
  MPU_InitStruct.TypeExtField = MPU_TEX_LEVEL0;
  MPU_InitStruct.AccessPermission = MPU_REGION_NO_ACCESS;
  MPU_InitStruct.DisableExec = MPU_INSTRUCTION_ACCESS_DISABLE;
  MPU_InitStruct.IsShareable = MPU_ACCESS_SHAREABLE;
  MPU_InitStruct.IsCacheable = MPU_ACCESS_NOT_CACHEABLE;
  MPU_InitStruct.IsBufferable = MPU_ACCESS_NOT_BUFFERABLE;

  HAL_MPU_ConfigRegion(&MPU_InitStruct);
  /* Enables the MPU */
  HAL_MPU_Enable(MPU_PRIVILEGED_DEFAULT);

}

void HAL_TIM_PeriodElapsedCallback(TIM_HandleTypeDef *htim)
{
  /* USER CODE BEGIN Callback 0 */

  if (htim->Instance == TIM4) {

  }

  if (htim->Instance == TIM12) {
	  CDC_Idle_Timer_Handler();
  }

  /* USER CODE END Callback 0 */
  if (htim->Instance == TIM17)
  {
    HAL_IncTick();
  }
}

void Error_Handler(void)
{
  __disable_irq();
  while (1)
  {
  }
}
